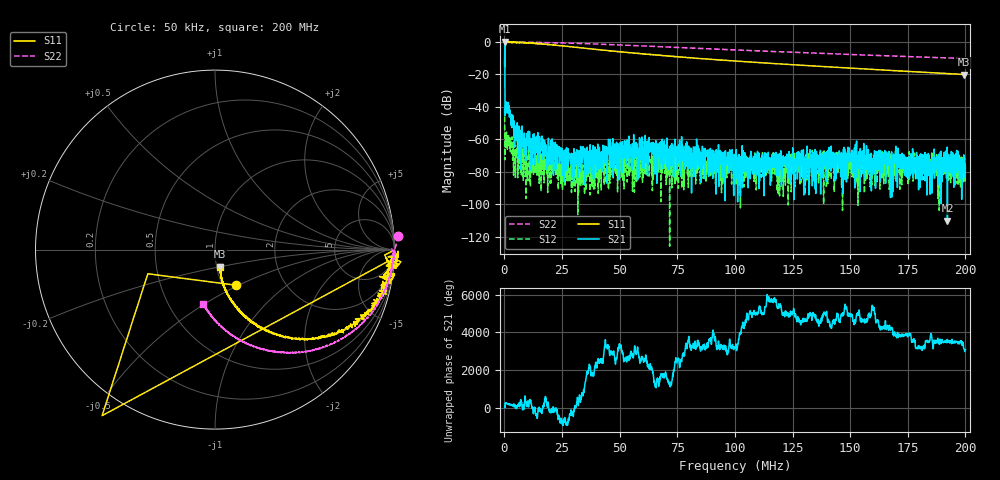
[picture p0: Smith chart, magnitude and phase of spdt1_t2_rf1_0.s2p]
! 26-Feb-26 10:45:46 AM
! E:\VNA_MEASUREMENTS\SPDT1\SPDT1_T2_RF1_0.S2P
! CHANNEL.1
! TR.MEASUREMENT
! CORRECTED.DATA
# GHZ S RI R 50.0
! FREQ.GHZ  S11RE  S11IM  S21RE  S21IM  S12RE  S12IM  S22RE  S22IM
!; PortSelection: Port_12
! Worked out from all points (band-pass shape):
!   2000 points, 50 kHz to 200 MHz, reference 50 ohm
!   highest |S21| = 0.21 dB at 150 kHz (marker M1); lowest = -110.1 dB at 192.2 MHz (marker M2)
!   |S21| within 3 dB of the highest: 130.3 kHz to 156.6 kHz (26.33 kHz wide, 18.4 % of centre)
!   lowest |S11| = -20.0 dB at 199.4 MHz (marker M3), VSWR 1.22, Z = 52.1 - j9.99 ohm
!   |S11| at or under -10 dB: 82.66079 MHz to 82.87917 MHz (218.4 kHz wide, 0.264 % of centre); 83.15986 MHz to 83.35499 MHz (195.1 kHz wide, 0.234 % of centre); 83.41 MHz to end of sweep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
!   |S22| runs from -10.2 to 0.2 dB; largest |S21 - S12| = 1
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5e-05  0.1167 -0.1983  0.0128 0.1775  -0.000535 0.00895  1.022 0.0766
0.000150025  -0.3742 -0.1347  0.9944 -0.2483  0.000517 0.000824  1 -0.00476
0.001350325  0.9817 -0.06  -0.00874 0.000888  0.00102 0.000827  0.9953 -0.0305
0.004951226  0.9521 -0.1442  0.0012 -0.00109  -2.05e-05 0.000475  0.9871 -0.0823
0.008152026  0.9212 -0.2712  -0.000513 0.000225  1.57e-05 5.25e-05  0.9833 -0.13
0.01215303  0.8571 -0.3599  0.000126 -0.000113  -4.43e-05 0.000104  0.9573 -0.1971
0.0292573  0.5047 -0.5011  -0.000126 1.94e-05  -9.72e-05 8.98e-05  0.8205 -0.4088
0.03345835  0.4362 -0.4963  0.000502 -0.000248  -9.99e-05 -2.2e-05  0.7784 -0.4459
0.04156038  0.3337 -0.467  -6.92e-05 -0.000275  2.32e-05 -6.95e-05  0.6946 -0.503
0.04496123  0.2957 -0.4569  0.000241 -0.000386  -5.98e-05 -6.32e-05  0.6565 -0.5225
0.06106526  0.1812 -0.3867  0.00121 -0.000549  0.000177 -9.97e-05  0.4941 -0.5689
0.06366591  0.1702 -0.3746  0.000558 -0.000546  0.000171 5.9e-05  0.4689 -0.5703
0.06676668  0.1556 -0.3616  -0.000547 -0.000271  0.000149 0.000166  0.4411 -0.5728
0.100075  0.0713 -0.2518  7.87e-05 -0.00011  5.83e-05 -0.000126  0.2024 -0.535
0.1333833  0.0417 -0.1795  0.000266 -0.000188  -1.59e-05 -9.97e-05  0.0641 -0.4551
0.1459865  0.0364 -0.1596  -9.44e-05 -0.000156  0.000176 4.06e-05  0.0285 -0.4229
0.1498875  0.0352 -0.1536  -0.000134 -0.000241  0.000229 -0.00011  0.0188 -0.4141
0.1666917  0.0312 -0.1316  -0.000141 7.95e-05  0.000137 -0.000136  -0.0172 -0.3749
0.1849962  0.0293 -0.1097  0.000105 -0.000178  7.1e-05 -0.00022  -0.0464 -0.3341
0.192198  0.0295 -0.1025  2.7e-06 1.6e-06  -1.43e-05 -0.000128  -0.0557 -0.3195
0.1993998  0.0296 -0.095  -9.03e-05 -0.000245  -0.000129 -0.00017  -0.0635 -0.3049
0.2  0.0301 -0.0949  -0.000116 -6.19e-05  9.61e-05 -8.45e-05  -0.0651 -0.3034
